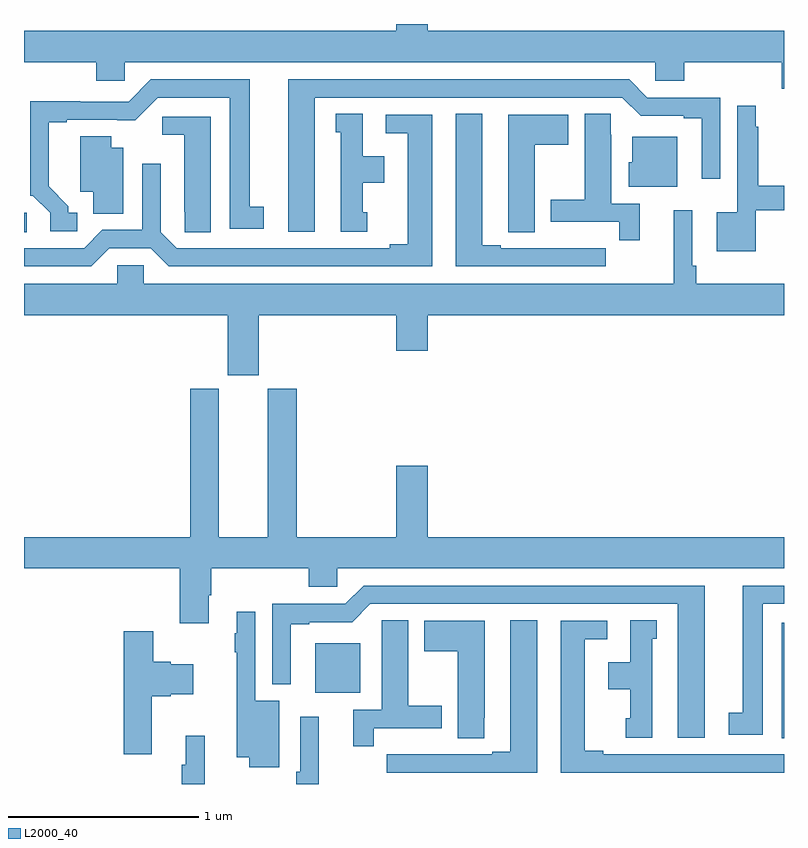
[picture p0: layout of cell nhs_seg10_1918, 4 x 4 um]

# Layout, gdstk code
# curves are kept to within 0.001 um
import gdstk
lib = gdstk.Library(unit=1e-6, precision=1e-09)
def R(c, l, rs):  # rectangles x0, y0, x1, y1
    for r in rs: c.add(gdstk.rectangle(r[:2], r[2:], *l))
def P(c, l, *ps):  # polygons
    for p in ps: c.add(gdstk.Polygon(p, *l))
L2000_40 = (2000, 40)

nhs_seg10_1918 = lib.new_cell('nhs_seg10_1918')
R(nhs_seg10_1918, L2000_40, [(214.988,1312.741,215,1313.349), (212.534,1312.979,212.77,1313.242), (211,1315.405,211.015,1315.506)])
P(nhs_seg10_1918, L2000_40, [(215,1316.464),(213.124,1316.464),(213.124,1316.5),(212.96,1316.5),(212.96,1316.464),(211,1316.464),(211,1316.3),(211.379,1316.3),(211.379,1316.202),(211.53,1316.202),(211.53,1316.3),(214.323,1316.3),(214.323,1316.202),(214.475,1316.202),(214.475,1316.3),(214.988,1316.3),(214.988,1316.158),(215,1316.158)],
  [(212.53,1316.112),(214.149,1316.112),(214.245,1316.016),(214.472,1316.016),(214.472,1316.004),(214.568,1316.004),(214.568,1315.686),(214.665,1315.686),(214.665,1316.112),(214.281,1316.112),(214.185,1316.208),(212.39,1316.208),(212.39,1315.407),(212.53,1315.407)],
  [(211.279,1315.506),(211.234,1315.506),(211.234,1315.541),(211.129,1315.646),(211.129,1315.983),(211.225,1315.983),(211.225,1315.995),(211.586,1315.994),(211.704,1316.112),(212.084,1316.112),(212.084,1315.422),(212.263,1315.422),(212.263,1315.538),(212.188,1315.538),(212.188,1316.208),(211.668,1316.208),(211.551,1316.091),(211.295,1316.091),(211.295,1316.093),(211.032,1316.093),(211.032,1315.596),(211.047,1315.596),(211.137,1315.506),(211.137,1315.41),(211.279,1315.41)],
  [(214.852,1315.52),(215,1315.52),(215,1315.65),(214.864,1315.65),(214.864,1315.958),(214.852,1315.958),(214.852,1316.071),(214.755,1316.071),(214.755,1315.51),(214.646,1315.51),(214.646,1315.304),(214.852,1315.304)],
  [(212.806,1315.509),(212.782,1315.509),(212.782,1315.664),(212.896,1315.664),(212.896,1315.804),(212.782,1315.804),(212.782,1316.027),(212.642,1316.027),(212.642,1315.929),(212.666,1315.929),(212.666,1315.407),(212.806,1315.407)],
  [(214.063,1315.32),(213.95,1315.32),(213.95,1315.321),(213.784,1315.321),(213.784,1315.32),(213.508,1315.32),(213.508,1315.335),(213.412,1315.335),(213.412,1316.027),(213.272,1316.027),(213.272,1315.224),(214.063,1315.224)],
  [(214.241,1315.554),(214.09,1315.554),(214.09,1315.916),(214.089,1315.916),(214.089,1316.027),(213.95,1316.027),(213.95,1315.575),(213.773,1315.575),(213.773,1315.458),(214.132,1315.458),(214.132,1315.362),(214.241,1315.362)],
  [(213.688,1315.864),(213.865,1315.864),(213.865,1316.023),(213.548,1316.023),(213.548,1315.513),(213.549,1315.513),(213.549,1315.405),(213.688,1315.405)],
  [(211.449,1315.32),(211.667,1315.32),(211.763,1315.224),(213.148,1315.224),(213.148,1316.022),(212.904,1316.022),(212.904,1315.926),(213.02,1315.926),(213.02,1315.34),(212.924,1315.34),(212.924,1315.32),(211.803,1315.32),(211.719,1315.404),(211.719,1315.765),(211.623,1315.765),(211.623,1315.416),(211.413,1315.416),(211.317,1315.32),(211,1315.32),(211,1315.224),(211.353,1315.224)],
  [(211.984,1316.013),(211.728,1316.013),(211.728,1315.916),(211.844,1315.916),(211.844,1315.513),(211.845,1315.513),(211.845,1315.405),(211.984,1315.405)],
  [(211.522,1315.849),(211.459,1315.849),(211.459,1315.91),(211.295,1315.91),(211.295,1315.616),(211.364,1315.616),(211.364,1315.501),(211.522,1315.501)],
  [(214.438,1315.906),(214.202,1315.906),(214.202,1315.773),(214.184,1315.773),(214.184,1315.643),(214.438,1315.643)],
  [(212.236,1314.968),(212.96,1314.968),(212.96,1314.78),(213.124,1314.78),(213.124,1314.968),(215,1314.968),(215,1315.132),(214.538,1315.132),(214.538,1315.228),(214.518,1315.228),(214.518,1315.519),(214.421,1315.519),(214.421,1315.132),(211.629,1315.132),(211.629,1315.23),(211.491,1315.23),(211.491,1315.132),(211,1315.132),(211,1314.968),(212.072,1314.968),(212.072,1314.651),(212.236,1314.651)],
  [(211.972,1313.494),(211.985,1313.494),(211.985,1313.636),(212.498,1313.636),(212.498,1313.538),(212.649,1313.538),(212.649,1313.636),(215,1313.636),(215,1313.8),(213.124,1313.8),(213.124,1314.175),(212.96,1314.175),(212.96,1313.8),(212.435,1313.8),(212.435,1314.579),(212.282,1314.579),(212.282,1313.8),(212.026,1313.8),(212.026,1314.579),(211.874,1314.579),(211.874,1313.8),(211,1313.8),(211,1313.636),(211.82,1313.636),(211.82,1313.346),(211.972,1313.346)],
  [(214.888,1313.448),(215,1313.448),(215,1313.544),(214.784,1313.544),(214.784,1312.874),(214.71,1312.874),(214.71,1312.758),(214.888,1312.758)],
  [(214.582,1313.544),(212.787,1313.544),(212.691,1313.448),(212.307,1313.448),(212.307,1313.024),(212.404,1313.024),(212.404,1313.34),(212.5,1313.34),(212.5,1313.352),(212.727,1313.352),(212.823,1313.448),(214.442,1313.448),(214.442,1312.743),(214.582,1312.743)],
  [(212.344,1312.939),(212.217,1312.939),(212.217,1313.407),(212.12,1313.407),(212.12,1313.294),(212.109,1313.294),(212.109,1313.194),(212.119,1313.194),(212.119,1312.935),(212.12,1312.935),(212.12,1312.64),(212.186,1312.64),(212.186,1312.587),(212.344,1312.587)],
  [(214.306,1313.265),(214.33,1313.265),(214.33,1313.363),(214.19,1313.363),(214.19,1313.14),(214.076,1313.14),(214.076,1313),(214.19,1313),(214.19,1312.845),(214.166,1312.845),(214.166,1312.743),(214.306,1312.743)],
  [(212.84,1312.794),(213.199,1312.794),(213.199,1312.911),(213.022,1312.911),(213.022,1313.363),(212.883,1313.363),(212.883,1313.252),(212.882,1313.252),(212.882,1312.89),(212.732,1312.89),(212.732,1312.698),(212.84,1312.698)],
  [(213.7,1313.363),(213.56,1313.363),(213.56,1312.671),(213.464,1312.671),(213.464,1312.656),(213.188,1312.656),(213.188,1312.657),(213.022,1312.657),(213.022,1312.656),(212.91,1312.656),(212.91,1312.56),(213.7,1312.56)],
  [(213.423,1312.849),(213.424,1312.849),(213.424,1313.359),(213.107,1313.359),(213.107,1313.2),(213.284,1313.2),(213.284,1312.741),(213.423,1312.741)],
  [(215,1312.656),(214.048,1312.656),(214.048,1312.676),(213.952,1312.676),(213.952,1313.262),(214.069,1313.262),(214.069,1313.358),(213.824,1313.358),(213.824,1312.56),(215,1312.56)],
  [(211.672,1312.961),(211.773,1312.961),(211.773,1312.973),(211.891,1312.973),(211.891,1313.131),(211.773,1313.131),(211.773,1313.144),(211.68,1313.144),(211.68,1313.305),(211.526,1313.305),(211.526,1312.656),(211.672,1312.656)],
  [(212.552,1312.855),(212.454,1312.855),(212.454,1312.564),(212.434,1312.564),(212.434,1312.5),(212.552,1312.5)],
  [(211.95,1312.753),(211.85,1312.753),(211.85,1312.602),(211.831,1312.602),(211.831,1312.5),(211.95,1312.5)])

lib.write_gds('nhs_seg10_1918.gds')
